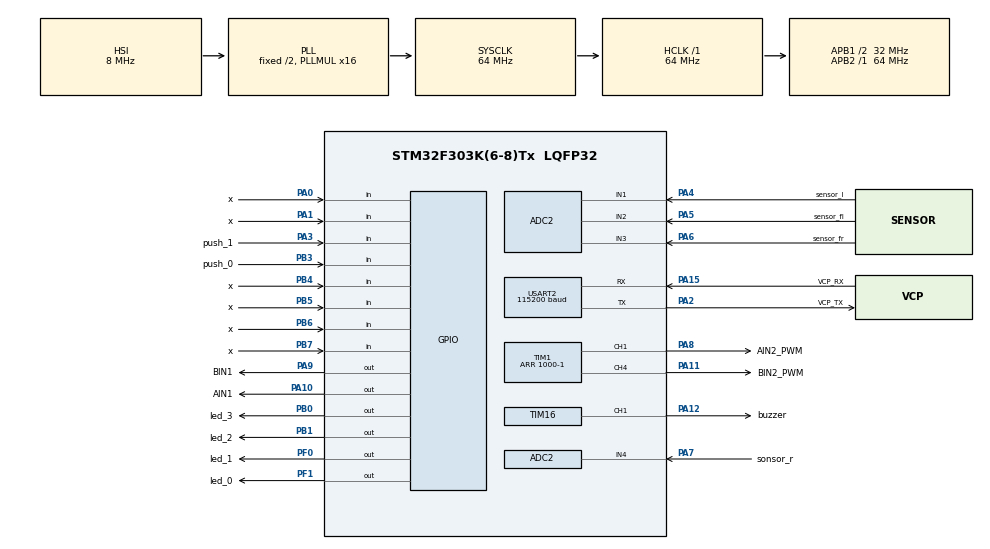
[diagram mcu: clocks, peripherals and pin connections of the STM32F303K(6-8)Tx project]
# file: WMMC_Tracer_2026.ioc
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ADC2.Channel-0\#ChannelRegularConversion=ADC_CHANNEL_1
ADC2.NbrOfConversionFlag=1
ADC2.Offset-0\#ChannelRegularConversion=0
ADC2.OffsetNumber-0\#ChannelRegularConversion=ADC_OFFSET_NONE
ADC2.Rank-0\#ChannelRegularConversion=1
ADC2.SamplingTime-0\#ChannelRegularConversion=ADC_SAMPLETIME_61CYCLES_5
ADC2.SubFamily=STM32F303x8
Mcu.Family=STM32F3
Mcu.Name=STM32F303K(6-8)Tx
Mcu.Package=LQFP32
NVIC.PriorityGroup=NVIC_PRIORITYGROUP_4
NVIC.TIM6_DAC1_IRQn=true\:0\:0\:false\:false\:true\:true\:true\:true
PA0.GPIO_Label=x
PA0.Signal=GPIO_Input
PA1.GPIO_Label=x
PA1.Signal=GPIO_Input
PA10.GPIO_Label=AIN1
PA10.Signal=GPIO_Output
PA11.GPIO_Label=BIN2_PWM
PA11.Signal=S_TIM1_CH4
PA12.GPIO_Label=buzzer
PA12.Signal=S_TIM16_CH1
PA13.GPIO_Label=SWDIO
PA13.Mode=Serial_Wire
PA13.Signal=SYS_JTMS-SWDIO
PA14.GPIO_Label=SWCLK
PA14.Mode=Serial_Wire
PA14.Signal=SYS_JTCK-SWCLK
PA15.GPIO_Label=VCP_RX
PA15.Mode=Asynchronous
PA15.Signal=USART2_RX
PA2.GPIO_Label=VCP_TX
PA2.Mode=Asynchronous
PA2.Signal=USART2_TX
PA3.GPIO_Label=push_1
PA3.GPIO_PuPd=GPIO_PULLUP
PA3.Signal=GPIO_Input
PA4.GPIO_Label=sensor_l
PA4.Mode=IN1-Single-Ended
PA4.Signal=ADC2_IN1
PA5.GPIO_Label=sensor_fl
PA5.Mode=IN2-Single-Ended
PA5.Signal=ADC2_IN2
PA6.GPIO_Label=sensor_fr
PA6.Mode=IN3-Single-Ended
PA6.Signal=ADC2_IN3
PA7.GPIO_Label=sonsor_r
PA7.Mode=IN4-Single-Ended
PA7.Signal=ADC2_IN4
PA8.GPIO_Label=AIN2_PWM
PA8.Signal=S_TIM1_CH1
PA9.GPIO_Label=BIN1
PA9.Signal=GPIO_Output
PB0.GPIO_Label=led_3
PB0.Signal=GPIO_Output
PB1.GPIO_Label=led_2
PB1.Signal=GPIO_Output
PB3.GPIO_Label=push_0
PB3.GPIO_PuPd=GPIO_PULLUP
PB3.Signal=GPIO_Input
PB4.GPIO_Label=x
PB4.Signal=GPIO_Input
PB5.GPIO_Label=x
PB5.Signal=GPIO_Input
PB6.GPIO_Label=x
PB6.Signal=GPIO_Input
PB7.GPIO_Label=x
PB7.Signal=GPIO_Input
PF0\ /\ OSC_IN.GPIO_Label=led_1
PF0\ /\ OSC_IN.Signal=GPIO_Output
PF1\ /\ OSC_OUT.GPIO_Label=led_0
PF1\ /\ OSC_OUT.Signal=GPIO_Output
ProjectManager.HeapSize=0x200
ProjectManager.StackSize=0x400
ProjectManager.TargetToolchain=STM32CubeIDE
RCC.AHBFreq_Value=64000000
RCC.APB1CLKDivider=RCC_HCLK_DIV2
RCC.APB1Freq_Value=32000000
RCC.APB1TimFreq_Value=64000000
RCC.APB2Freq_Value=64000000
RCC.APB2TimFreq_Value=64000000
RCC.CortexFreq_Value=64000000
RCC.HCLKFreq_Value=64000000
RCC.HSE_VALUE=8000000
RCC.HSI_VALUE=8000000
RCC.PLLMUL=RCC_PLL_MUL16
RCC.SYSCLKFreq_VALUE=64000000
RCC.SYSCLKSourceVirtual=RCC_SYSCLKSOURCE_PLLCLK
SH.S_TIM16_CH1.0=TIM16_CH1,PWM Generation1 CH1
SH.S_TIM1_CH1.0=TIM1_CH1,PWM Generation1 CH1
SH.S_TIM1_CH4.0=TIM1_CH4,PWM Generation4 CH4
TIM1.Channel-PWM\ Generation1\ CH1=TIM_CHANNEL_1
TIM1.Channel-PWM\ Generation4\ CH4=TIM_CHANNEL_4
TIM1.Period=1000-1
TIM16.Channel=TIM_CHANNEL_1
TIM16.Period=1000-1
TIM16.Prescaler=64-1
TIM6.Period=1000-1
TIM6.Prescaler=64-1
USART2.BaudRate=115200
USART2.VirtualMode-Asynchronous=VM_ASYNC
VP_TIM16_VS_ClockSourceINT.Mode=Enable_Timer
VP_TIM6_VS_ClockSourceINT.Mode=Enable_Timer
board=NUCLEO-F303K8

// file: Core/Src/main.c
/* USER CODE BEGIN Header */
/*******************************************************************************
WMMC_NUCLEO-F303K8新歓トレーサ
2026/04/18:Karasawa
********************************************************************************/
/**
  ******************************************************************************
  * @file           : main.c
  * @brief          : Main program body
  ******************************************************************************
  * @attention
  *
  * Copyright (c) 2026 STMicroelectronics.
  * All rights reserved.
  *
  * This software is licensed under terms that can be found in the LICENSE file
  * in the root directory of this software component.
  * If no LICENSE file comes with this software, it is provided AS-IS.
  *
  ******************************************************************************
  */
/* USER CODE END Header */
#include "main.h"
#include "adc.h"
#include "tim.h"
#include "usart.h"
#include "gpio.h"

/* USER CODE BEGIN Includes */
#include "global.h"
/* USER CODE END Includes */

void SystemClock_Config(void);

int main(void)
{

  /* USER CODE BEGIN 1 */
    printf("On");

  /* USER CODE END 1 */

  /* MCU Configuration--------------------------------------------------------*/

  /* Reset of all peripherals, Initializes the Flash interface and the Systick. */
  HAL_Init();

  /* Configure the system clock */
  SystemClock_Config();

  /* Initialize all configured peripherals */
  MX_GPIO_Init();
  MX_USART2_UART_Init();
  MX_ADC2_Init();
  MX_TIM1_Init();
  MX_TIM6_Init();
  MX_TIM16_Init();
  /* USER CODE BEGIN 2 */
  HAL_TIM_Base_Start_IT(&htim6);
  /* USER CODE END 2 */

  /* Infinite loop */
  /* USER CODE BEGIN WHILE */
  while (1)
  {

    int sensor_l = get_sensor_value_l();
      printf("L%d ",sensor_l);
    int sensor_fl = get_sensor_value_fl();
      printf("FL%d ",sensor_fl);
    int sensor_fr = get_sensor_value_fr();
      printf("FR%d ",sensor_fr);
    int sensor_r = get_sensor_value_r();
      printf("R%d\n",sensor_r);
    start_pwm();
    forward();
    set_pwm_duty_l(300);
    set_pwm_duty_r(300);

    /* USER CODE END WHILE */

  }
}

void SystemClock_Config(void)
{
  RCC_OscInitTypeDef RCC_OscInitStruct = {0};
  RCC_ClkInitTypeDef RCC_ClkInitStruct = {0};
  RCC_PeriphCLKInitTypeDef PeriphClkInit = {0};

  /** Initializes the RCC Oscillators according to the specified parameters
  * in the RCC_OscInitTypeDef structure.
  */
  RCC_OscInitStruct.OscillatorType = RCC_OSCILLATORTYPE_HSI;
  RCC_OscInitStruct.HSIState = RCC_HSI_ON;
  RCC_OscInitStruct.HSICalibrationValue = RCC_HSICALIBRATION_DEFAULT;
  RCC_OscInitStruct.PLL.PLLState = RCC_PLL_ON;
  RCC_OscInitStruct.PLL.PLLSource = RCC_PLLSOURCE_HSI;
  RCC_OscInitStruct.PLL.PLLMUL = RCC_PLL_MUL16;
  if (HAL_RCC_OscConfig(&RCC_OscInitStruct) != HAL_OK)
  {
    Error_Handler();
  }

  /** Initializes the CPU, AHB and APB buses clocks
  */
  RCC_ClkInitStruct.ClockType = RCC_CLOCKTYPE_HCLK|RCC_CLOCKTYPE_SYSCLK
                              |RCC_CLOCKTYPE_PCLK1|RCC_CLOCKTYPE_PCLK2;
  RCC_ClkInitStruct.SYSCLKSource = RCC_SYSCLKSOURCE_PLLCLK;
  RCC_ClkInitStruct.AHBCLKDivider = RCC_SYSCLK_DIV1;
  RCC_ClkInitStruct.APB1CLKDivider = RCC_HCLK_DIV2;
  RCC_ClkInitStruct.APB2CLKDivider = RCC_HCLK_DIV1;

  if (HAL_RCC_ClockConfig(&RCC_ClkInitStruct, FLASH_LATENCY_2) != HAL_OK)
  {
    Error_Handler();
  }
  PeriphClkInit.PeriphClockSelection = RCC_PERIPHCLK_TIM1|RCC_PERIPHCLK_ADC12;
  PeriphClkInit.Adc12ClockSelection = RCC_ADC12PLLCLK_DIV1;
  PeriphClkInit.Tim1ClockSelection = RCC_TIM1CLK_HCLK;
  if (HAL_RCCEx_PeriphCLKConfig(&PeriphClkInit) != HAL_OK)
  {
    Error_Handler();
  }
}

void Error_Handler(void)
{
  __disable_irq();
  while (1)
  {
  }
}
